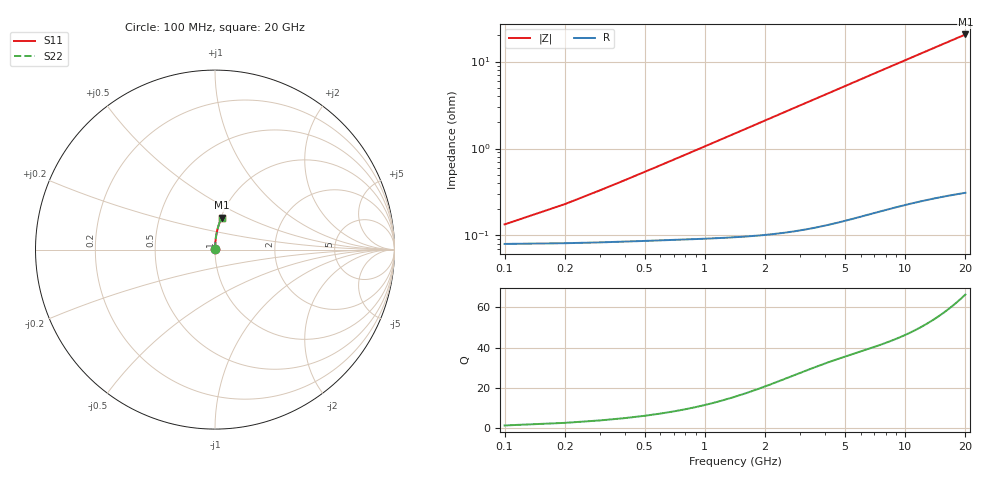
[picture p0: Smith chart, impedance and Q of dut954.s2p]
! Touchstone file exported from HFSS 2024.1.0
!  File:  C:/UserFiles/LocalFiles/RDL_TSV_Batchsim/temp_RDL_bottom_954_1779942353.aedt
!  Generated:  12:28:18 PM May 28, 2026
!  Design:  RDL_bottom
!  Project:  temp_RDL_bottom_954_1779942353
!  Setup:  Setup1
!  Solution:  Sweep
! Variables:
!  dtsv = 10.80580581um
!  hbump = 3um
!  htsv = 51.34um
!  ldown = 108.67um
!  lrdl = 100um
!  p = 40
!  p1 = 59.96um
!  rhole = 1um
!  t = 450um
!  tdown = 4.55um
!  trdl = 3.915915916um
!  wdown = 12.66um
!  wrdl = 20um
# GHz S MA R 50.000000
! Terminal data exported
! Port[1] = RDL1_T1
! Port[2] = RDL1_T2
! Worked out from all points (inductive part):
!   200 points, 100 MHz to 20 GHz, reference 50 ohm
!   read as one part in series: L = 169 pH near 300 MHz
!   highest Q = 66.3 at 20 GHz (marker M1), where L = 163 pH
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0.1  0.001213 48.9  0.9992 -0.1  0.9992 -0.1  0.001213 48.9
! Gamma 0 0 0 0
! Port Impedance 50 0 50 0
0.2  0.001994 65.9  0.9992 -0.1  0.9992 -0.1  0.001994 65.9
0.3  0.002844 73.0  0.9992 -0.2  0.9992 -0.2  0.002844 73.0
0.4  0.00371 76.7  0.9991 -0.3  0.9991 -0.3  0.00371 76.7
0.5  0.004583 79.1  0.9991 -0.3  0.9991 -0.3  0.004583 79.1
0.7  0.006337 81.8  0.9991 -0.5  0.9991 -0.5  0.006337 81.8
0.8  0.007217 82.7  0.999 -0.6  0.999 -0.6  0.007217 82.7
1  0.008982 84.0  0.999 -0.7  0.999 -0.7  0.008982 84.0
1.2  0.01075 84.8  0.9989 -0.8  0.9989 -0.8  0.01075 84.8
1.4  0.01253 85.4  0.9988 -1.0  0.9988 -1.0  0.01253 85.4
1.7  0.01519 86.0  0.9987 -1.2  0.9987 -1.2  0.01519 86.0
2  0.01786 86.3  0.9985 -1.4  0.9985 -1.4  0.01786 86.3
2.7  0.02411 86.8  0.9981 -1.9  0.9981 -1.9  0.02411 86.8
3.5  0.03128 86.9  0.9974 -2.4  0.9974 -2.4  0.03128 86.9
4.2  0.03758 86.9  0.9968 -2.9  0.9968 -2.9  0.03758 86.9
5  0.04481 86.7  0.9959 -3.4  0.9959 -3.4  0.04481 86.7
6.8  0.06118 86.1  0.9938 -4.6  0.9938 -4.6  0.06118 86.1
8.3  0.0749 85.4  0.9919 -5.5  0.9919 -5.5  0.0749 85.4
10.1  0.09142 84.5  0.9894 -6.7  0.9894 -6.7  0.09142 84.5
13.4  0.1217 82.5  0.9845 -8.7  0.9845 -8.7  0.1217 82.5
16.7  0.1516 80.5  0.9791 -10.8  0.9791 -10.8  0.1516 80.5
20  0.181 78.4  0.9731 -12.8  0.9731 -12.8  0.181 78.4
